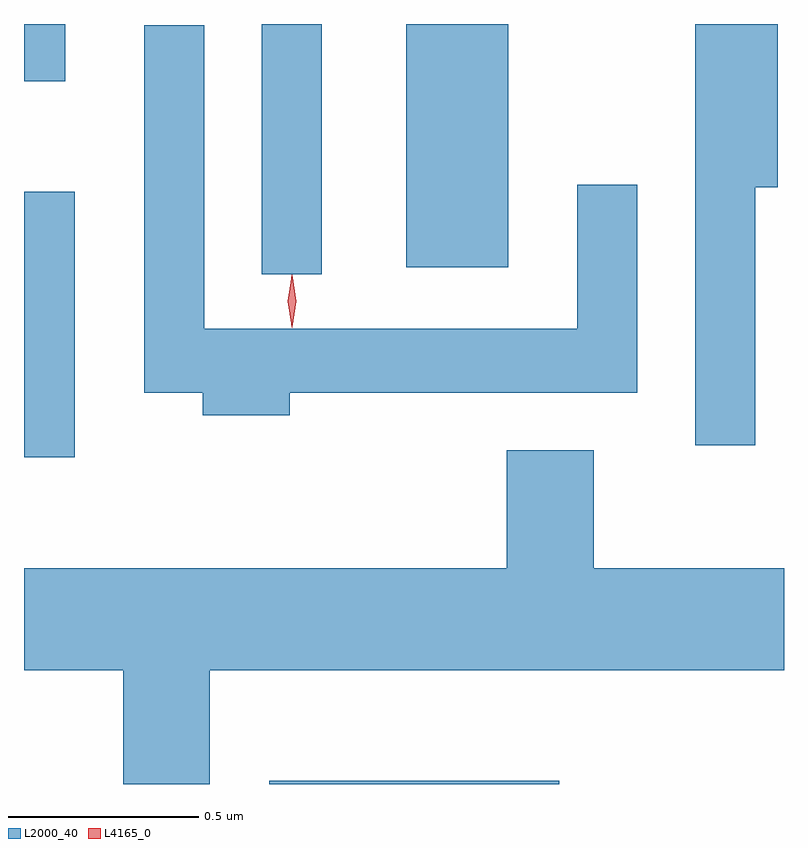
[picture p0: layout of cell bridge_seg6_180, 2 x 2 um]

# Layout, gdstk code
import gdstk
lib = gdstk.Library(unit=1e-6, precision=1e-09)
def R(c, l, rs):  # rectangles x0, y0, x1, y1
    for r in rs: c.add(gdstk.rectangle(r[:2], r[2:], *l))
def P(c, l, *ps):  # polygons
    for p in ps: c.add(gdstk.Polygon(p, *l))
L2000_40 = (2000, 40)
L4165_0 = (4165, 0)

bridge_seg6_180 = lib.new_cell('bridge_seg6_180')
R(bridge_seg6_180, L2000_40, [(1109.186,1574.156,1109.949,1574.164), (1108.54,1575.016,1108.674,1575.714), (1109.166,1575.498,1109.324,1576.156), (1109.546,1575.516,1109.814,1576.156), (1108.54,1576.006,1108.649,1576.156)])
P(bridge_seg6_180, L2000_40, [(1110.464,1575.726),(1110.524,1575.726),(1110.524,1576.156),(1110.306,1576.156),(1110.306,1575.048),(1110.464,1575.048)],
  [(1109.239,1575.186),(1110.154,1575.186),(1110.154,1575.733),(1109.996,1575.733),(1109.996,1575.354),(1109.014,1575.354),(1109.014,1576.153),(1108.856,1576.153),(1108.856,1575.186),(1109.011,1575.186),(1109.011,1575.126),(1109.239,1575.126)],
  [(1109.029,1574.456),(1110.54,1574.456),(1110.54,1574.724),(1110.039,1574.724),(1110.039,1575.034),(1109.811,1575.034),(1109.811,1574.724),(1108.54,1574.724),(1108.54,1574.456),(1108.801,1574.456),(1108.801,1574.156),(1109.029,1574.156)])
P(bridge_seg6_180, L4165_0, [(1109.246,1575.357),(1109.245,1575.358),(1109.236,1575.427),(1109.245,1575.496),(1109.246,1575.496),(1109.246,1575.496),(1109.256,1575.427),(1109.246,1575.358)],
  [(1109.244,1575.359),(1109.244,1575.36),(1109.234,1575.426),(1109.244,1575.492),(1109.244,1575.493),(1109.245,1575.492),(1109.254,1575.426),(1109.245,1575.36)])

lib.write_gds('bridge_seg6_180.gds')
